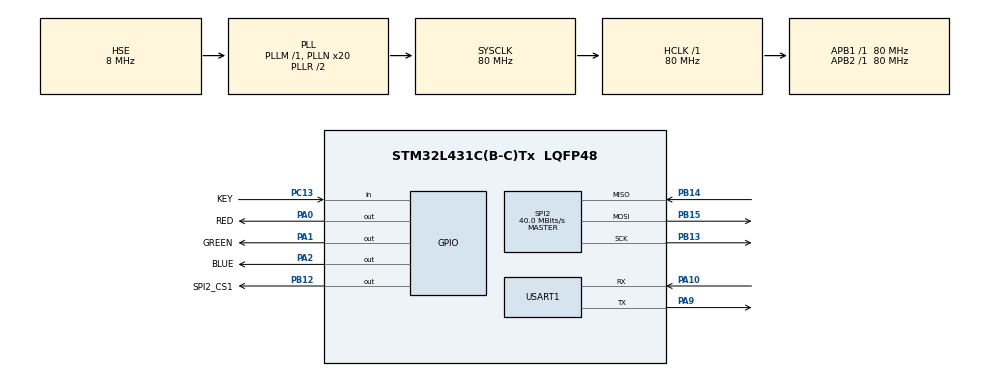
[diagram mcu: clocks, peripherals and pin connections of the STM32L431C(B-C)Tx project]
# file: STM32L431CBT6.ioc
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Mcu.Family=STM32L4
Mcu.Name=STM32L431C(B-C)Tx
Mcu.Package=LQFP48
NVIC.PriorityGroup=NVIC_PRIORITYGROUP_4
NVIC.RTC_Alarm_IRQn=true\:0\:0\:false\:false\:true\:true\:true\:true
NVIC.USART1_IRQn=true\:0\:0\:false\:false\:true\:true\:true\:true
PA0.GPIO_Label=RED
PA0.GPIO_PuPd=GPIO_PULLUP
PA0.PinState=GPIO_PIN_SET
PA0.Signal=GPIO_Output
PA1.GPIO_Label=GREEN
PA1.GPIO_PuPd=GPIO_PULLUP
PA1.PinState=GPIO_PIN_SET
PA1.Signal=GPIO_Output
PA10.Mode=Asynchronous
PA10.Signal=USART1_RX
PA13\ (JTMS-SWDIO).Mode=Serial_Wire
PA13\ (JTMS-SWDIO).Signal=SYS_JTMS-SWDIO
PA14\ (JTCK-SWCLK).Mode=Serial_Wire
PA14\ (JTCK-SWCLK).Signal=SYS_JTCK-SWCLK
PA2.GPIO_Label=BLUE
PA2.GPIO_PuPd=GPIO_PULLUP
PA2.PinState=GPIO_PIN_SET
PA2.Signal=GPIO_Output
PA9.Mode=Asynchronous
PA9.Signal=USART1_TX
PB12.GPIO_Label=SPI2_CS1
PB12.GPIO_PuPd=GPIO_PULLUP
PB12.Signal=GPIO_Output
PB13.GPIO_PuPd=GPIO_PULLUP
PB13.Mode=Full_Duplex_Master
PB13.Signal=SPI2_SCK
PB14.GPIO_PuPd=GPIO_PULLUP
PB14.Mode=Full_Duplex_Master
PB14.Signal=SPI2_MISO
PB15.GPIO_PuPd=GPIO_PULLUP
PB15.Mode=Full_Duplex_Master
PB15.Signal=SPI2_MOSI
PC13.GPIO_Label=KEY
PC13.GPIO_PuPd=GPIO_PULLUP
PC13.Signal=GPIO_Input
PC14-OSC32_IN\ (PC14).Mode=LSE-External-Oscillator
PC14-OSC32_IN\ (PC14).Signal=RCC_OSC32_IN
PC15-OSC32_OUT\ (PC15).Mode=LSE-External-Oscillator
PC15-OSC32_OUT\ (PC15).Signal=RCC_OSC32_OUT
PH0-OSC_IN\ (PH0).Mode=HSE-External-Oscillator
PH0-OSC_IN\ (PH0).Signal=RCC_OSC_IN
PH1-OSC_OUT\ (PH1).Mode=HSE-External-Oscillator
PH1-OSC_OUT\ (PH1).Signal=RCC_OSC_OUT
ProjectManager.HeapSize=0x400
ProjectManager.StackSize=0x400
ProjectManager.TargetToolchain=MDK-ARM V5
RCC.ADCFreq_Value=32000000
RCC.AHBFreq_Value=80000000
RCC.APB1Freq_Value=80000000
RCC.APB1TimFreq_Value=80000000
RCC.APB2Freq_Value=80000000
RCC.APB2TimFreq_Value=80000000
RCC.CortexFreq_Value=80000000
RCC.HCLKFreq_Value=80000000
RCC.HSI48_VALUE=48000000
RCC.HSI_VALUE=16000000
RCC.MSI_VALUE=4000000
RCC.PLLN=20
RCC.PLLSourceVirtual=RCC_PLLSOURCE_HSE
RCC.SYSCLKFreq_VALUE=80000000
RCC.SYSCLKSource=RCC_SYSCLKSOURCE_PLLCLK
RCC.VCOOutputFreq_Value=160000000
RTC.Alarm-Alarm\ A=RTC_ALARM_A
RTC.Seconds_A-Alarm\ A=10
SPI2.BaudRatePrescaler=SPI_BAUDRATEPRESCALER_2
SPI2.CLKPhase=SPI_PHASE_2EDGE
SPI2.CLKPolarity=SPI_POLARITY_HIGH
SPI2.CalculateBaudRate=40.0 MBits/s
SPI2.DataSize=SPI_DATASIZE_8BIT
SPI2.Direction=SPI_DIRECTION_2LINES
SPI2.Mode=SPI_MODE_MASTER
SPI2.VirtualType=VM_MASTER
USART1.VirtualMode-Asynchronous=VM_ASYNC
VP_RTC_VS_RTC_Activate.Mode=RTC_Enabled
VP_RTC_VS_RTC_Alarm_A_Intern.Mode=Alarm A
VP_RTC_VS_RTC_Calendar.Mode=RTC_Calendar
board=custom

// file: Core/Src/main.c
/* USER CODE BEGIN Header */
/**
  ******************************************************************************
  * @file           : main.c
  * @brief          : Main program body
  ******************************************************************************
  * @attention
  *
  * Copyright (c) 2023 STMicroelectronics.
  * All rights reserved.
  *
  * This software is licensed under terms that can be found in the LICENSE file
  * in the root directory of this software component.
  * If no LICENSE file comes with this software, it is provided AS-IS.
  *
  ******************************************************************************
  */
/* USER CODE END Header */
#include "main.h"
#include "rtc.h"
#include "spi.h"
#include "usart.h"
#include "gpio.h"

/* USER CODE BEGIN Includes */
#include "BSP_GPIO.h"
#include "BSP_USART.h"
#include "stdio.h"
#include "BSP_spi.h"
#include "w25qxx.h"
/* USER CODE END Includes */

void SystemClock_Config(void);

/* USER CODE BEGIN 0 */
const uint8_t TEXT_Buffer[]= {"BORING-TECH STM32 SPI TEST"};
#define SIZE sizeof(TEXT_Buffer)
/* USER CODE END 0 */

int main(void)
{

  /* USER CODE BEGIN 1 */
	uint8_t datatemp[SIZE];

	uint8_t key;

	uint8_t mode;
	uint16_t i=0;

	uint32_t flash_size;
  /* USER CODE END 1 */

  /* MCU Configuration--------------------------------------------------------*/

  /* Reset of all peripherals, Initializes the Flash interface and the Systick. */
  HAL_Init();

  /* Configure the system clock */
  SystemClock_Config();

  /* Initialize all configured peripherals */
  MX_GPIO_Init();
  MX_USART1_UART_Init();
  MX_SPI2_Init();
  MX_RTC_Init();
  /* USER CODE BEGIN 2 */

	__HAL_SPI_ENABLE(&hspi2);
  SPI2_ReadWriteByte(0Xff);

	W25QXX_WAKEUP();
	HAL_Delay(100);

//	W25QXX_Init();
	while(W25QXX_ReadID()!=W25Q128)								//检测不到W25Q64
	{
			HAL_Delay(500);
			HAL_GPIO_TogglePin(RED_GPIO_Port ,RED_Pin );
	}
	printf("SPI Ready \r\n");

	flash_size=16*1024*1024;	//FLASH 大小为8M字节

  /* USER CODE END 2 */

  /* Infinite loop */
  /* USER CODE BEGIN WHILE */
  while (1)
  {
		if(key&&(mode==0)&&(HAL_GPIO_ReadPin(KEY_GPIO_Port,KEY_Pin)==0))
		{
			key=0;
			mode=1;
 			printf("Start Write SPI....\r\n");
			W25QXX_Write((uint8_t*)TEXT_Buffer,flash_size-100,SIZE);		//从倒数第100个地址处开始,写入SIZE长度的数据
			printf("SPI Write Finished!\r\n");	//提示传送完成
		}
		else if(HAL_GPIO_ReadPin(KEY_GPIO_Port,KEY_Pin)==1)
			key=1;

		if(key&&(mode==1)&&(HAL_GPIO_ReadPin(KEY_GPIO_Port,KEY_Pin)==0))
		{
			key=0;
			mode=0;
 			printf("Start Read SPI.... \r\n");
			W25QXX_Read(datatemp,flash_size-100,SIZE);					//从倒数第100个地址处开始,读出SIZE个字节
			printf("The Data Readed Is:   \r\n");	//提示传送完成
			HAL_UART_Transmit(&huart1,(uint8_t*)datatemp,SIZE,1000);
			printf("\r\n\r\n");
		}
		else if(HAL_GPIO_ReadPin(KEY_GPIO_Port,KEY_Pin)==1)
			key=1;

		i++;
		HAL_Delay(10);
		if(i==100)
		{
			HAL_GPIO_TogglePin(GREEN_GPIO_Port,GREEN_Pin);
			i=0;
		}
    /* USER CODE END WHILE */

  }
}

void SystemClock_Config(void)
{
  RCC_OscInitTypeDef RCC_OscInitStruct = {0};
  RCC_ClkInitTypeDef RCC_ClkInitStruct = {0};

  /** Configure the main internal regulator output voltage
  */
  if (HAL_PWREx_ControlVoltageScaling(PWR_REGULATOR_VOLTAGE_SCALE1) != HAL_OK)
  {
    Error_Handler();
  }

  /** Initializes the RCC Oscillators according to the specified parameters
  * in the RCC_OscInitTypeDef structure.
  */
  RCC_OscInitStruct.OscillatorType = RCC_OSCILLATORTYPE_LSI|RCC_OSCILLATORTYPE_HSE;
  RCC_OscInitStruct.HSEState = RCC_HSE_ON;
  RCC_OscInitStruct.LSIState = RCC_LSI_ON;
  RCC_OscInitStruct.PLL.PLLState = RCC_PLL_ON;
  RCC_OscInitStruct.PLL.PLLSource = RCC_PLLSOURCE_HSE;
  RCC_OscInitStruct.PLL.PLLM = 1;
  RCC_OscInitStruct.PLL.PLLN = 20;
  RCC_OscInitStruct.PLL.PLLP = RCC_PLLP_DIV7;
  RCC_OscInitStruct.PLL.PLLQ = RCC_PLLQ_DIV2;
  RCC_OscInitStruct.PLL.PLLR = RCC_PLLR_DIV2;
  if (HAL_RCC_OscConfig(&RCC_OscInitStruct) != HAL_OK)
  {
    Error_Handler();
  }

  /** Initializes the CPU, AHB and APB buses clocks
  */
  RCC_ClkInitStruct.ClockType = RCC_CLOCKTYPE_HCLK|RCC_CLOCKTYPE_SYSCLK
                              |RCC_CLOCKTYPE_PCLK1|RCC_CLOCKTYPE_PCLK2;
  RCC_ClkInitStruct.SYSCLKSource = RCC_SYSCLKSOURCE_PLLCLK;
  RCC_ClkInitStruct.AHBCLKDivider = RCC_SYSCLK_DIV1;
  RCC_ClkInitStruct.APB1CLKDivider = RCC_HCLK_DIV1;
  RCC_ClkInitStruct.APB2CLKDivider = RCC_HCLK_DIV1;

  if (HAL_RCC_ClockConfig(&RCC_ClkInitStruct, FLASH_LATENCY_4) != HAL_OK)
  {
    Error_Handler();
  }
}

void Error_Handler(void)
{
  __disable_irq();
  while (1)
  {
  }
}
